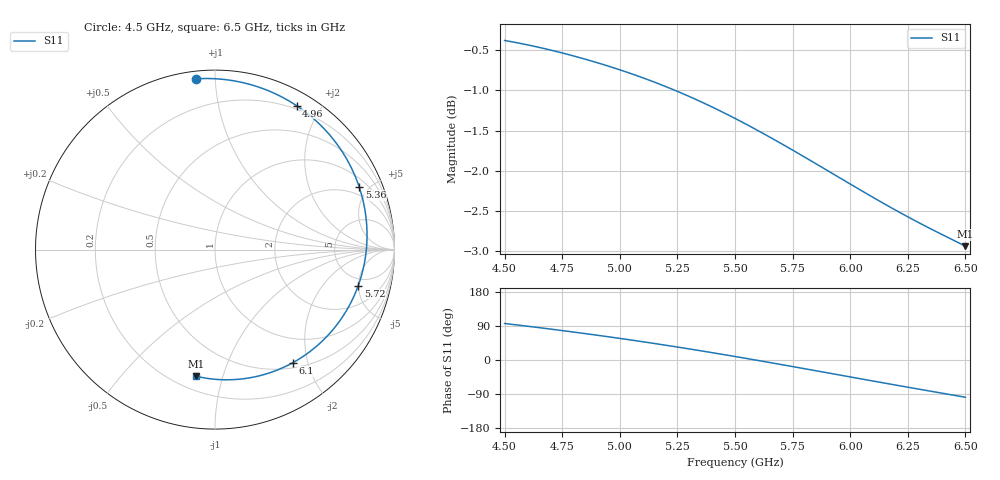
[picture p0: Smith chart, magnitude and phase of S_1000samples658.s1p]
! TOUCHSTONE file generated by CST MICROWAVE STUDIO
! Date and time: Fri Oct 28 22:39:17 2022
! Project name: L.cst
! Parameters = {Di=1.27; Epsilon_r=1.56; InnerDiameter=1.27; Length=2; Lf=10; Lg=60; OuterConductorThickness=0.2921; OuterDiameter=3.6; Wf=3; Wp=41.2; de=1.5; df=6.8; g=0.8; gx=3.86362; gy=4.40345; h=2.34; hf=1.524; px=11.7449; py=13.0052; w=9.7; wx=7.88128; wy=8.60176}
! Header version: 2018
! Port assignment regex: !\s*Touchstone port\s*([0-9]+)\s*=\s*(CST MWS port|CST DS port)\s*([0-9]+|Zmin|Zmax)\s*\(\"(.*)\"\)(\s*mode\s*([0-9]+))?.*
! Touchstone port assignment:
! Touchstone port 1 = CST MWS port 1 ("")
# GHz S DB R 50
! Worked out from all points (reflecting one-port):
!   101 points, 4.5 GHz to 6.5 GHz, reference 50 ohm
!   lowest |S11| = -2.9 dB at 6.5 GHz (marker M1), VSWR 5.98, Z = 14.3 - j41.1 ohm
!   phase of S11 starts at 96 deg and turns -195 deg over the sweep
!   S11 on the Smith chart (normalised r, x): 4.5 GHz: 0.04, +0.89; 4.96 GHz: 0.16, +1.71; 5.36 GHz: 1.46, +4.35; 5.72 GHz: 3.99, -4.96; 6.1 GHz: 0.58, -1.75; 6.5 GHz: 0.29, -0.82
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4.5  -0.38 96.3
4.58  -0.42 90.5
4.64  -0.46 86.1
4.76  -0.54 76.9
4.86  -0.62 68.8
4.96  -0.71 60.4
5  -0.74 57.0
5.12  -0.86 46.3
5.2  -0.95 38.9
5.26  -1.02 33.2
5.36  -1.15 23.4
5.44  -1.26 15.4
5.5  -1.35 9.2
5.6  -1.50 -1.2
5.66  -1.59 -7.6
5.72  -1.69 -14.1
5.76  -1.76 -18.4
5.82  -1.86 -25.0
5.88  -1.96 -31.5
5.94  -2.06 -38.1
6  -2.16 -44.7
6.1  -2.33 -55.6
6.18  -2.46 -64.2
6.26  -2.59 -72.8
6.32  -2.68 -79.2
6.38  -2.76 -85.6
6.44  -2.85 -92.0
6.5  -2.93 -98.4
